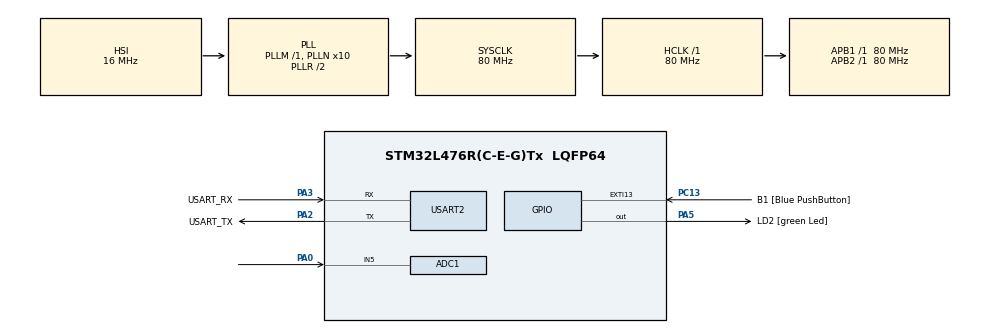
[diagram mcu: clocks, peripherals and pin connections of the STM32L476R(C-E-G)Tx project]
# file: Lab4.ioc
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ADC1.Channel-0\#ChannelRegularConversion=ADC_CHANNEL_5
ADC1.ContinuousConvMode=ENABLE
ADC1.DMAContinuousRequests=ENABLE
ADC1.NbrOfConversionFlag=1
ADC1.master=1
Dma.ADC1.0.Direction=DMA_PERIPH_TO_MEMORY
Dma.ADC1.0.Instance=DMA1_Channel1
Dma.ADC1.0.MemDataAlignment=DMA_MDATAALIGN_WORD
Dma.ADC1.0.MemInc=DMA_MINC_ENABLE
Dma.ADC1.0.Mode=DMA_CIRCULAR
Dma.ADC1.0.PeriphDataAlignment=DMA_PDATAALIGN_HALFWORD
Dma.ADC1.0.PeriphInc=DMA_PINC_DISABLE
Dma.ADC1.0.Priority=DMA_PRIORITY_LOW
Dma.Request0=ADC1
Mcu.Family=STM32L4
Mcu.Name=STM32L476R(C-E-G)Tx
Mcu.Package=LQFP64
NVIC.DMA1_Channel1_IRQn=true\:0\:0\:false\:false\:true\:false\:true\:true
NVIC.PriorityGroup=NVIC_PRIORITYGROUP_4
NVIC.TIM6_DAC_IRQn=true\:0\:0\:false\:false\:true\:true\:true\:true
PA0.Signal=ADCx_IN5
PA13\ (JTMS-SWDIO).GPIO_Label=TMS
PA13\ (JTMS-SWDIO).Mode=Serial_Wire
PA13\ (JTMS-SWDIO).Signal=SYS_JTMS-SWDIO
PA14\ (JTCK-SWCLK).GPIO_Label=TCK
PA14\ (JTCK-SWCLK).Mode=Serial_Wire
PA14\ (JTCK-SWCLK).Signal=SYS_JTCK-SWCLK
PA2.GPIO_Label=USART_TX
PA2.GPIO_Mode=GPIO_MODE_AF_PP
PA2.GPIO_PuPd=GPIO_NOPULL
PA2.GPIO_Speed=GPIO_SPEED_FREQ_VERY_HIGH
PA2.Mode=Asynchronous
PA2.Signal=USART2_TX
PA3.GPIO_Label=USART_RX
PA3.GPIO_Mode=GPIO_MODE_AF_PP
PA3.GPIO_PuPd=GPIO_NOPULL
PA3.GPIO_Speed=GPIO_SPEED_FREQ_VERY_HIGH
PA3.Mode=Asynchronous
PA3.Signal=USART2_RX
PA5.GPIO_Label=LD2 [green Led]
PA5.GPIO_ModeDefaultOutputPP=GPIO_MODE_OUTPUT_PP
PA5.GPIO_PuPd=GPIO_NOPULL
PA5.GPIO_Speed=GPIO_SPEED_FREQ_LOW
PA5.Signal=GPIO_Output
PB3\ (JTDO-TRACESWO).GPIO_Label=SWO
PB3\ (JTDO-TRACESWO).Signal=SYS_JTDO-SWO
PC13.GPIO_Label=B1 [Blue PushButton]
PC13.GPIO_ModeDefaultEXTI=GPIO_MODE_IT_FALLING
PC13.GPIO_PuPd=GPIO_NOPULL
PC13.Signal=GPXTI13
PC14-OSC32_IN\ (PC14).Mode=LSE-External-Oscillator
PC14-OSC32_IN\ (PC14).Signal=RCC_OSC32_IN
PC15-OSC32_OUT\ (PC15).Mode=LSE-External-Oscillator
PC15-OSC32_OUT\ (PC15).Signal=RCC_OSC32_OUT
PH0-OSC_IN\ (PH0).Mode=HSE-External-Oscillator
PH0-OSC_IN\ (PH0).Signal=RCC_OSC_IN
PH1-OSC_OUT\ (PH1).Mode=HSE-External-Oscillator
PH1-OSC_OUT\ (PH1).Signal=RCC_OSC_OUT
ProjectManager.HeapSize=0x200
ProjectManager.StackSize=0x400
ProjectManager.TargetToolchain=STM32CubeIDE
RCC.ADCFreq_Value=64000000
RCC.AHBFreq_Value=80000000
RCC.APB1Freq_Value=80000000
RCC.APB1TimFreq_Value=80000000
RCC.APB2Freq_Value=80000000
RCC.APB2TimFreq_Value=80000000
RCC.CortexFreq_Value=80000000
RCC.HCLKFreq_Value=80000000
RCC.HSE_VALUE=8000000
RCC.HSI_VALUE=16000000
RCC.MSI_VALUE=4000000
RCC.PLLN=10
RCC.PLLSourceVirtual=RCC_PLLSOURCE_HSI
RCC.PREFETCH_ENABLE=1
RCC.SYSCLKFreq_VALUE=80000000
RCC.SYSCLKSource=RCC_SYSCLKSOURCE_PLLCLK
RCC.USBFreq_Value=64000000
RCC.VCOOutputFreq_Value=160000000
SH.ADCx_IN5.0=ADC1_IN5,IN5-Single-Ended
TIM6.Prescaler=79
USART2.VirtualMode-Asynchronous=VM_ASYNC
VP_TIM6_VS_ClockSourceINT.Mode=Enable_Timer
VP_TIM6_VS_OPM.Mode=OPM_bit
board=NUCLEO-L476RG

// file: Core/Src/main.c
/* USER CODE BEGIN Header */
/**
  ******************************************************************************
  * @file           : main.c
  * @brief          : Main program body
  ******************************************************************************
  * @attention
  *
  * Copyright (c) 2025 STMicroelectronics.
  * All rights reserved.
  *
  * This software is licensed under terms that can be found in the LICENSE file
  * in the root directory of this software component.
  * If no LICENSE file comes with this software, it is provided AS-IS.
  *
  ******************************************************************************
  */
/* USER CODE END Header */
#include "main.h"

/* USER CODE BEGIN Includes */
#include "math.h"
#include "arm_math.h"
#include <stdint.h>
/* USER CODE END Includes */

/* USER CODE BEGIN PD */
#define N 40
#define BUFFER_SIZE 80

/* USER CODE END PD */

ADC_HandleTypeDef hadc1;
DMA_HandleTypeDef hdma_adc1;

TIM_HandleTypeDef htim6;

UART_HandleTypeDef huart2;

/* USER CODE BEGIN PV */
uint32_t val;
float real_val;
uint32_t timer_counter;
uint32_t adc_buffer[BUFFER_SIZE];

/* USER CODE END PV */

void SystemClock_Config(void);
static void MX_GPIO_Init(void);
static void MX_DMA_Init(void);
static void MX_USART2_UART_Init(void);
static void MX_ADC1_Init(void);
static void MX_TIM6_Init(void);

/* USER CODE BEGIN 0 */
void HAL_ADC_ConvHalfCpltCallback(ADC_HandleTypeDef *hadc)
{
  htim6.Instance->CNT = 0;
  val = adc_buffer[0];
}
void HAL_ADC_ConvCpltCallback(ADC_HandleTypeDef *hadc)
{
  timer_counter = __HAL_TIM_GET_COUNTER(&htim6);
}

/* USER CODE END 0 */

int main(void)
{

  /* USER CODE BEGIN 1 */
  float arr[N];
  float delta = 3 / ((3 / 3.3) * 4095);
  float voltage;
  voltage = 0.0 * delta;
  /* USER CODE END 1 */

  /* MCU Configuration--------------------------------------------------------*/

  /* Reset of all peripherals, Initializes the Flash interface and the Systick. */
  HAL_Init();

  /* Configure the system clock */
  SystemClock_Config();

  /* Initialize all configured peripherals */
  MX_GPIO_Init();
  MX_DMA_Init();
  MX_USART2_UART_Init();
  MX_ADC1_Init();
  MX_TIM6_Init();
  /* USER CODE BEGIN 2 */

  /* -- Task 1 -- */
  /*
  for (int i = 0; i < N; i++){
    HAL_ADC_Start(&hadc1);
    HAL_ADC_PollForConversion(&hadc1, HAL_MAX_DELAY);
    val = HAL_ADC_GetValue(&hadc1);
    voltage = val * delta;
    arr[i] = voltage;
    HAL_Delay(50);
  }
  */
  /* -- Task 2 -- */
  HAL_TIM_Base_Start(&htim6);

  /* -- Task 3 -- */
  HAL_ADC_Start_DMA(&hadc1, adc_buffer, BUFFER_SIZE);

  /* USER CODE END 2 */

  /* Infinite loop */
  while (1)
  {

  }
}

void SystemClock_Config(void)
{
  RCC_OscInitTypeDef RCC_OscInitStruct = {0};
  RCC_ClkInitTypeDef RCC_ClkInitStruct = {0};

  /** Configure the main internal regulator output voltage
  */
  if (HAL_PWREx_ControlVoltageScaling(PWR_REGULATOR_VOLTAGE_SCALE1) != HAL_OK)
  {
    Error_Handler();
  }

  /** Initializes the RCC Oscillators according to the specified parameters
  * in the RCC_OscInitTypeDef structure.
  */
  RCC_OscInitStruct.OscillatorType = RCC_OSCILLATORTYPE_HSI;
  RCC_OscInitStruct.HSIState = RCC_HSI_ON;
  RCC_OscInitStruct.HSICalibrationValue = RCC_HSICALIBRATION_DEFAULT;
  RCC_OscInitStruct.PLL.PLLState = RCC_PLL_ON;
  RCC_OscInitStruct.PLL.PLLSource = RCC_PLLSOURCE_HSI;
  RCC_OscInitStruct.PLL.PLLM = 1;
  RCC_OscInitStruct.PLL.PLLN = 10;
  RCC_OscInitStruct.PLL.PLLP = RCC_PLLP_DIV7;
  RCC_OscInitStruct.PLL.PLLQ = RCC_PLLQ_DIV2;
  RCC_OscInitStruct.PLL.PLLR = RCC_PLLR_DIV2;
  if (HAL_RCC_OscConfig(&RCC_OscInitStruct) != HAL_OK)
  {
    Error_Handler();
  }

  /** Initializes the CPU, AHB and APB buses clocks
  */
  RCC_ClkInitStruct.ClockType = RCC_CLOCKTYPE_HCLK|RCC_CLOCKTYPE_SYSCLK
                              |RCC_CLOCKTYPE_PCLK1|RCC_CLOCKTYPE_PCLK2;
  RCC_ClkInitStruct.SYSCLKSource = RCC_SYSCLKSOURCE_PLLCLK;
  RCC_ClkInitStruct.AHBCLKDivider = RCC_SYSCLK_DIV1;
  RCC_ClkInitStruct.APB1CLKDivider = RCC_HCLK_DIV1;
  RCC_ClkInitStruct.APB2CLKDivider = RCC_HCLK_DIV1;

  if (HAL_RCC_ClockConfig(&RCC_ClkInitStruct, FLASH_LATENCY_4) != HAL_OK)
  {
    Error_Handler();
  }
}

static void MX_ADC1_Init(void)
{

  ADC_MultiModeTypeDef multimode = {0};
  ADC_ChannelConfTypeDef sConfig = {0};

  /** Common config
  */
  hadc1.Instance = ADC1;
  hadc1.Init.ClockPrescaler = ADC_CLOCK_ASYNC_DIV1;
  hadc1.Init.Resolution = ADC_RESOLUTION_12B;
  hadc1.Init.DataAlign = ADC_DATAALIGN_RIGHT;
  hadc1.Init.ScanConvMode = ADC_SCAN_DISABLE;
  hadc1.Init.EOCSelection = ADC_EOC_SINGLE_CONV;
  hadc1.Init.LowPowerAutoWait = DISABLE;
  hadc1.Init.ContinuousConvMode = ENABLE;
  hadc1.Init.NbrOfConversion = 1;
  hadc1.Init.DiscontinuousConvMode = DISABLE;
  hadc1.Init.ExternalTrigConv = ADC_SOFTWARE_START;
  hadc1.Init.ExternalTrigConvEdge = ADC_EXTERNALTRIGCONVEDGE_NONE;
  hadc1.Init.DMAContinuousRequests = ENABLE;
  hadc1.Init.Overrun = ADC_OVR_DATA_PRESERVED;
  hadc1.Init.OversamplingMode = DISABLE;
  if (HAL_ADC_Init(&hadc1) != HAL_OK)
  {
    Error_Handler();
  }

  /** Configure the ADC multi-mode
  */
  multimode.Mode = ADC_MODE_INDEPENDENT;
  if (HAL_ADCEx_MultiModeConfigChannel(&hadc1, &multimode) != HAL_OK)
  {
    Error_Handler();
  }

  /** Configure Regular Channel
  */
  sConfig.Channel = ADC_CHANNEL_5;
  sConfig.Rank = ADC_REGULAR_RANK_1;
  sConfig.SamplingTime = ADC_SAMPLETIME_2CYCLES_5;
  sConfig.SingleDiff = ADC_SINGLE_ENDED;
  sConfig.OffsetNumber = ADC_OFFSET_NONE;
  sConfig.Offset = 0;
  if (HAL_ADC_ConfigChannel(&hadc1, &sConfig) != HAL_OK)
  {
    Error_Handler();
  }

}

static void MX_TIM6_Init(void)
{

  TIM_MasterConfigTypeDef sMasterConfig = {0};

  htim6.Instance = TIM6;
  htim6.Init.Prescaler = 79;
  htim6.Init.CounterMode = TIM_COUNTERMODE_UP;
  htim6.Init.Period = 65535;
  htim6.Init.AutoReloadPreload = TIM_AUTORELOAD_PRELOAD_DISABLE;
  if (HAL_TIM_Base_Init(&htim6) != HAL_OK)
  {
    Error_Handler();
  }
  if (HAL_TIM_OnePulse_Init(&htim6, TIM_OPMODE_SINGLE) != HAL_OK)
  {
    Error_Handler();
  }
  sMasterConfig.MasterOutputTrigger = TIM_TRGO_RESET;
  sMasterConfig.MasterSlaveMode = TIM_MASTERSLAVEMODE_DISABLE;
  if (HAL_TIMEx_MasterConfigSynchronization(&htim6, &sMasterConfig) != HAL_OK)
  {
    Error_Handler();
  }

}

static void MX_USART2_UART_Init(void)
{

  huart2.Instance = USART2;
  huart2.Init.BaudRate = 115200;
  huart2.Init.WordLength = UART_WORDLENGTH_8B;
  huart2.Init.StopBits = UART_STOPBITS_1;
  huart2.Init.Parity = UART_PARITY_NONE;
  huart2.Init.Mode = UART_MODE_TX_RX;
  huart2.Init.HwFlowCtl = UART_HWCONTROL_NONE;
  huart2.Init.OverSampling = UART_OVERSAMPLING_16;
  huart2.Init.OneBitSampling = UART_ONE_BIT_SAMPLE_DISABLE;
  huart2.AdvancedInit.AdvFeatureInit = UART_ADVFEATURE_NO_INIT;
  if (HAL_UART_Init(&huart2) != HAL_OK)
  {
    Error_Handler();
  }

}

static void MX_DMA_Init(void)
{

  /* DMA controller clock enable */
  __HAL_RCC_DMA1_CLK_ENABLE();

  /* DMA interrupt init */
  /* DMA1_Channel1_IRQn interrupt configuration */
  HAL_NVIC_SetPriority(DMA1_Channel1_IRQn, 0, 0);
  HAL_NVIC_EnableIRQ(DMA1_Channel1_IRQn);

}

static void MX_GPIO_Init(void)
{
  GPIO_InitTypeDef GPIO_InitStruct = {0};

  /* GPIO Ports Clock Enable */
  __HAL_RCC_GPIOC_CLK_ENABLE();
  __HAL_RCC_GPIOH_CLK_ENABLE();
  __HAL_RCC_GPIOA_CLK_ENABLE();
  __HAL_RCC_GPIOB_CLK_ENABLE();

  /*Configure GPIO pin Output Level */
  HAL_GPIO_WritePin(LD2_GPIO_Port, LD2_Pin, GPIO_PIN_RESET);

  /*Configure GPIO pin : B1_Pin */
  GPIO_InitStruct.Pin = B1_Pin;
  GPIO_InitStruct.Mode = GPIO_MODE_IT_FALLING;
  GPIO_InitStruct.Pull = GPIO_NOPULL;
  HAL_GPIO_Init(B1_GPIO_Port, &GPIO_InitStruct);

  /*Configure GPIO pin : LD2_Pin */
  GPIO_InitStruct.Pin = LD2_Pin;
  GPIO_InitStruct.Mode = GPIO_MODE_OUTPUT_PP;
  GPIO_InitStruct.Pull = GPIO_NOPULL;
  GPIO_InitStruct.Speed = GPIO_SPEED_FREQ_LOW;
  HAL_GPIO_Init(LD2_GPIO_Port, &GPIO_InitStruct);

}

void Error_Handler(void)
{
  __disable_irq();
  while (1)
  {
  }
}
